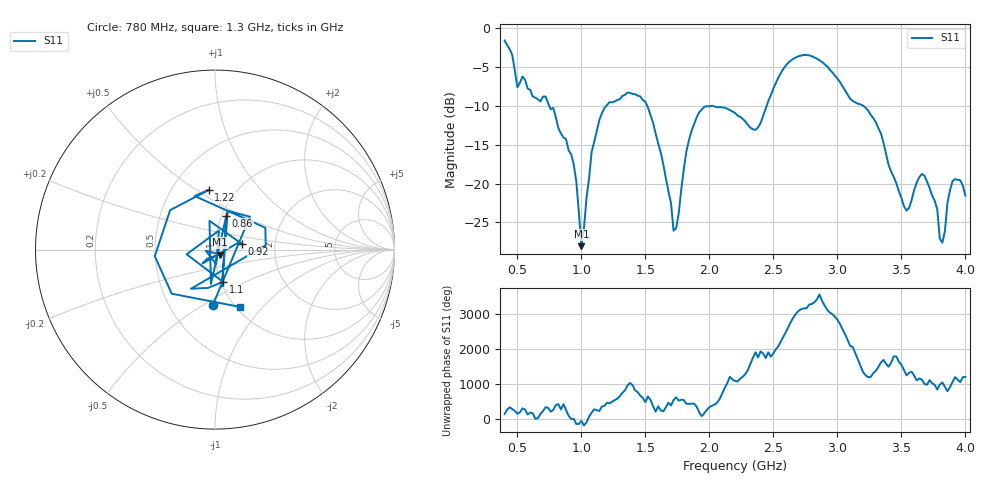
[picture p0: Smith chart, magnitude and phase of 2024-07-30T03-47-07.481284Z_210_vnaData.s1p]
!Created with skrf (http://scikit-rf.org).
# Hz S RI R 50.0
!freq ReS11 ImS11
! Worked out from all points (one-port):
!   181 points, 400 MHz to 4 GHz, reference 50 ohm
!   lowest |S11| = -28.1 dB at 1 GHz (marker M1), VSWR 1.08, Z = 52.8 - j2.91 ohm
!   |S11| at or under -10 dB: 748.7 MHz to 1.195 GHz (446.7 MHz wide, 46 % of centre); 1.514 GHz to 2.018 GHz (504 MHz wide, 28.5 % of centre); 3.202 GHz to end of sweep (the widest 3 of 4)
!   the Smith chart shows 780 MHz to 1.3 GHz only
!   S11 on the Smith chart (normalised r, x): 780 MHz: 0.81, -0.55; 860 MHz: 1.05, +0.41; 920 MHz: 1.35, +0.09; 1.1 GHz: 1.02, -0.38; 1.22 GHz: 0.75, +0.56; 1.3 GHz: 1.04, -0.76
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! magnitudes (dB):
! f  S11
! 400 MHz  -1.6
! 500 MHz  -7.6
! 780 MHz  -10.3
! 860 MHz  -14.1
! 920 MHz  -16.2
! 960 MHz  -19.7
! 1 GHz  -28.1
! 1.1 GHz  -14.7
! 1.22 GHz  -9.5
! 1.3 GHz  -9.2
! 1.5 GHz  -9.5
! 1.62 GHz  -16.0
! 1.72 GHz  -26.1
! 1.76 GHz  -23.9
! 1.82 GHz  -15.9
! 1.92 GHz  -10.8
! 2.2 GHz  -10.9
! 2.36 GHz  -13.1
! 2.66 GHz  -3.9
! 2.86 GHz  -4.1
! 3.1 GHz  -9.1
! 3.3 GHz  -12.1
! 3.56 GHz  -23.1
! 3.68 GHz  -19.0
! 3.78 GHz  -23.3
! 3.82 GHz  -27.6
! 3.9 GHz  -19.7
! 4 GHz  -21.5
